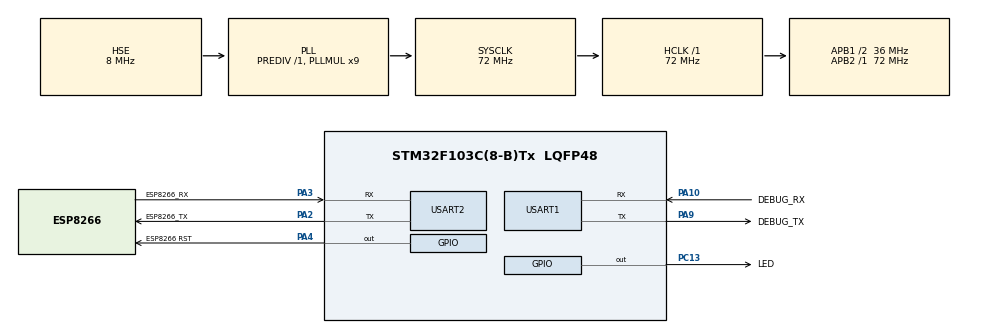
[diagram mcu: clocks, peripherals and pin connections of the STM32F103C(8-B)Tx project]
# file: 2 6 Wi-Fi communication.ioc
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Dma.Request0=USART1_RX
Dma.Request1=USART1_TX
Dma.Request2=USART2_RX
Dma.Request3=USART2_TX
Dma.USART1_RX.0.Direction=DMA_PERIPH_TO_MEMORY
Dma.USART1_RX.0.Instance=DMA1_Channel5
Dma.USART1_RX.0.MemDataAlignment=DMA_MDATAALIGN_BYTE
Dma.USART1_RX.0.MemInc=DMA_MINC_ENABLE
Dma.USART1_RX.0.Mode=DMA_NORMAL
Dma.USART1_RX.0.PeriphDataAlignment=DMA_PDATAALIGN_BYTE
Dma.USART1_RX.0.PeriphInc=DMA_PINC_DISABLE
Dma.USART1_RX.0.Priority=DMA_PRIORITY_LOW
Dma.USART1_TX.1.Direction=DMA_MEMORY_TO_PERIPH
Dma.USART1_TX.1.Instance=DMA1_Channel4
Dma.USART1_TX.1.MemDataAlignment=DMA_MDATAALIGN_BYTE
Dma.USART1_TX.1.MemInc=DMA_MINC_ENABLE
Dma.USART1_TX.1.Mode=DMA_NORMAL
Dma.USART1_TX.1.PeriphDataAlignment=DMA_PDATAALIGN_BYTE
Dma.USART1_TX.1.PeriphInc=DMA_PINC_DISABLE
Dma.USART1_TX.1.Priority=DMA_PRIORITY_LOW
Dma.USART2_RX.2.Direction=DMA_PERIPH_TO_MEMORY
Dma.USART2_RX.2.Instance=DMA1_Channel6
Dma.USART2_RX.2.MemDataAlignment=DMA_MDATAALIGN_BYTE
Dma.USART2_RX.2.MemInc=DMA_MINC_ENABLE
Dma.USART2_RX.2.Mode=DMA_NORMAL
Dma.USART2_RX.2.PeriphDataAlignment=DMA_PDATAALIGN_BYTE
Dma.USART2_RX.2.PeriphInc=DMA_PINC_DISABLE
Dma.USART2_RX.2.Priority=DMA_PRIORITY_LOW
Dma.USART2_TX.3.Direction=DMA_MEMORY_TO_PERIPH
Dma.USART2_TX.3.Instance=DMA1_Channel7
Dma.USART2_TX.3.MemDataAlignment=DMA_MDATAALIGN_BYTE
Dma.USART2_TX.3.MemInc=DMA_MINC_ENABLE
Dma.USART2_TX.3.Mode=DMA_NORMAL
Dma.USART2_TX.3.PeriphDataAlignment=DMA_PDATAALIGN_BYTE
Dma.USART2_TX.3.PeriphInc=DMA_PINC_DISABLE
Dma.USART2_TX.3.Priority=DMA_PRIORITY_LOW
Mcu.Family=STM32F1
Mcu.Name=STM32F103C(8-B)Tx
Mcu.Package=LQFP48
NVIC.DMA1_Channel4_IRQn=true\:0\:0\:false\:false\:true\:false\:true\:true
NVIC.DMA1_Channel5_IRQn=true\:0\:0\:false\:false\:true\:false\:true\:true
NVIC.DMA1_Channel6_IRQn=true\:0\:0\:false\:false\:true\:false\:true\:true
NVIC.DMA1_Channel7_IRQn=true\:0\:0\:false\:false\:true\:false\:true\:true
NVIC.PriorityGroup=NVIC_PRIORITYGROUP_4
NVIC.USART1_IRQn=true\:2\:0\:true\:false\:true\:false\:true\:true
NVIC.USART2_IRQn=true\:2\:0\:true\:false\:true\:false\:true\:true
PA10.GPIO_Label=DEBUG_RX
PA10.Mode=Asynchronous
PA10.Signal=USART1_RX
PA13.Mode=Serial_Wire
PA13.Signal=SYS_JTMS-SWDIO
PA14.Mode=Serial_Wire
PA14.Signal=SYS_JTCK-SWCLK
PA2.GPIO_Label=ESP8266_TX
PA2.Mode=Asynchronous
PA2.Signal=USART2_TX
PA3.GPIO_Label=ESP8266_RX
PA3.Mode=Asynchronous
PA3.Signal=USART2_RX
PA4.GPIO_Label=ESP8266 RST
PA4.PinState=GPIO_PIN_SET
PA4.Signal=GPIO_Output
PA9.GPIO_Label=DEBUG_TX
PA9.Mode=Asynchronous
PA9.Signal=USART1_TX
PC13-TAMPER-RTC.GPIO_Label=LED
PC13-TAMPER-RTC.PinState=GPIO_PIN_SET
PC13-TAMPER-RTC.Signal=GPIO_Output
PC14-OSC32_IN.Mode=LSE-External-Oscillator
PC14-OSC32_IN.Signal=RCC_OSC32_IN
PC15-OSC32_OUT.Mode=LSE-External-Oscillator
PC15-OSC32_OUT.Signal=RCC_OSC32_OUT
PD0-OSC_IN.Mode=HSE-External-Oscillator
PD0-OSC_IN.Signal=RCC_OSC_IN
PD1-OSC_OUT.Mode=HSE-External-Oscillator
PD1-OSC_OUT.Signal=RCC_OSC_OUT
ProjectManager.HeapSize=0x200
ProjectManager.StackSize=0x400
ProjectManager.TargetToolchain=MDK-ARM V5.32
RCC.AHBFreq_Value=72000000
RCC.APB1CLKDivider=RCC_HCLK_DIV2
RCC.APB1Freq_Value=36000000
RCC.APB1TimFreq_Value=72000000
RCC.APB2Freq_Value=72000000
RCC.APB2TimFreq_Value=72000000
RCC.HCLKFreq_Value=72000000
RCC.PLLMUL=RCC_PLL_MUL9
RCC.PLLSourceVirtual=RCC_PLLSOURCE_HSE
RCC.SYSCLKFreq_VALUE=72000000
RCC.SYSCLKSource=RCC_SYSCLKSOURCE_PLLCLK
RCC.USBFreq_Value=72000000
USART1.VirtualMode=VM_ASYNC
USART2.VirtualMode=VM_ASYNC
board=custom

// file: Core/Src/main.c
/* USER CODE BEGIN Header */
/**
  ******************************************************************************
  * @file           : main.c
  * @brief          : Main program body
  ******************************************************************************
  * @attention
  *
  * Copyright (c) 2025 STMicroelectronics.
  * All rights reserved.
  *
  * This software is licensed under terms that can be found in the LICENSE file
  * in the root directory of this software component.
  * If no LICENSE file comes with this software, it is provided AS-IS.
  *
  ******************************************************************************
  */
/* USER CODE END Header */
#include "main.h"
#include "dma.h"
#include "usart.h"
#include "gpio.h"

/* USER CODE BEGIN Includes */
#include <stdio.h>
#include <string.h>
/* USER CODE END Includes */

/* USER CODE BEGIN PV */
uint8_t AT_command_buffer [128]={0};
uint8_t AT_response_buffer [128]={0};    //建立AT命令的缓冲区
uint8_t cmd[128]={0};            //建立命令缓存区
uint8_t cmd_ready=1; //1代表没有命令正在执行,0代表有命令正在执行
/* USER CODE END PV */

void SystemClock_Config(void);

int main(void)
{

  /* MCU Configuration--------------------------------------------------------*/

  /* Reset of all peripherals, Initializes the Flash interface and the Systick. */
  HAL_Init();

  /* Configure the system clock */
  SystemClock_Config();

  /* Initialize all configured peripherals */
  MX_GPIO_Init();
  MX_DMA_Init();
  MX_USART1_UART_Init();
  MX_USART2_UART_Init();
  /* USER CODE BEGIN 2 */
  HAL_UARTEx_ReceiveToIdle_DMA (&huart1,AT_command_buffer,128);
  HAL_UARTEx_ReceiveToIdle_DMA (&huart2,AT_response_buffer,128);
  /* USER CODE END 2 */

  /* Infinite loop */
  while (1)
  {

    /* USER CODE BEGIN 3 */
    if(cmd_ready == 0){
      if(strstr((const char *)cmd,"LED_ON") != NULL){
        HAL_GPIO_WritePin(LED_GPIO_Port, LED_Pin, GPIO_PIN_RESET);
      }
      if(strstr((const char *)cmd,"LED_OFF") != NULL){
        HAL_GPIO_WritePin(LED_GPIO_Port, LED_Pin, GPIO_PIN_SET);
      }
      memset(cmd,0,sizeof(cmd));
      cmd_ready=1;
    }
  }
  /* USER CODE END 3 */
}

void SystemClock_Config(void)
{
  RCC_OscInitTypeDef RCC_OscInitStruct = {0};
  RCC_ClkInitTypeDef RCC_ClkInitStruct = {0};

  /** Initializes the RCC Oscillators according to the specified parameters
  * in the RCC_OscInitTypeDef structure.
  */
  RCC_OscInitStruct.OscillatorType = RCC_OSCILLATORTYPE_HSE;
  RCC_OscInitStruct.HSEState = RCC_HSE_ON;
  RCC_OscInitStruct.HSEPredivValue = RCC_HSE_PREDIV_DIV1;
  RCC_OscInitStruct.HSIState = RCC_HSI_ON;
  RCC_OscInitStruct.PLL.PLLState = RCC_PLL_ON;
  RCC_OscInitStruct.PLL.PLLSource = RCC_PLLSOURCE_HSE;
  RCC_OscInitStruct.PLL.PLLMUL = RCC_PLL_MUL9;
  if (HAL_RCC_OscConfig(&RCC_OscInitStruct) != HAL_OK)
  {
    Error_Handler();
  }

  /** Initializes the CPU, AHB and APB buses clocks
  */
  RCC_ClkInitStruct.ClockType = RCC_CLOCKTYPE_HCLK|RCC_CLOCKTYPE_SYSCLK
                              |RCC_CLOCKTYPE_PCLK1|RCC_CLOCKTYPE_PCLK2;
  RCC_ClkInitStruct.SYSCLKSource = RCC_SYSCLKSOURCE_PLLCLK;
  RCC_ClkInitStruct.AHBCLKDivider = RCC_SYSCLK_DIV1;
  RCC_ClkInitStruct.APB1CLKDivider = RCC_HCLK_DIV2;
  RCC_ClkInitStruct.APB2CLKDivider = RCC_HCLK_DIV1;

  if (HAL_RCC_ClockConfig(&RCC_ClkInitStruct, FLASH_LATENCY_2) != HAL_OK)
  {
    Error_Handler();
  }
}

/* USER CODE BEGIN 4 */
void HAL_UARTEx_RxEventCallback(UART_HandleTypeDef *huart, uint16_t Size){
  if(huart ->Instance ==  USART1){
    HAL_UART_Transmit_DMA(&huart2,AT_command_buffer,Size);
  }
  else if(huart ->Instance ==  USART2){
    if(cmd_ready){
      memcpy(cmd,AT_response_buffer,Size);
      cmd[Size] = '\0';    // 末尾添加字符串终止符
      cmd_ready=0;
    }
    HAL_UART_Transmit_DMA(&huart1, AT_response_buffer, Size);
  }
}

void HAL_UART_TxCpltCallback(UART_HandleTypeDef *huart){
  if(huart ->Instance == USART2){
    memset(AT_command_buffer,0,sizeof(AT_command_buffer));
    HAL_UARTEx_ReceiveToIdle_DMA (&huart1,AT_command_buffer,128);
  }
  else if(huart ->Instance == USART1){
	memset(AT_command_buffer,0,sizeof(AT_command_buffer));
    HAL_UARTEx_ReceiveToIdle_DMA (&huart2,AT_response_buffer,128);
  }
}

void HAL_UART_ErrorCallback(UART_HandleTypeDef *huart){
  if(huart ->Instance == USART2){
    __HAL_UART_CLEAR_FEFLAG(huart);   //清除帧错误标志
    HAL_UARTEx_ReceiveToIdle_DMA (&huart2,AT_response_buffer,128);
  }
}
/* USER CODE END 4 */

void Error_Handler(void)
{
  __disable_irq();
  while (1)
  {
  }
}
